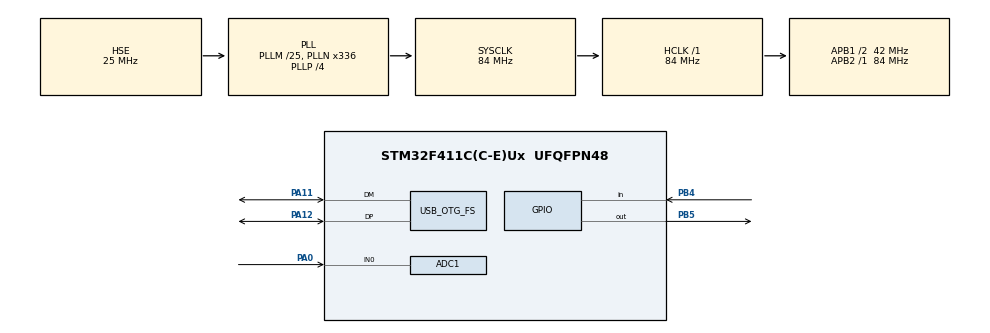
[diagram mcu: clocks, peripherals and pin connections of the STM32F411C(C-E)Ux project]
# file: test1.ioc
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ADC1.Channel-0\#ChannelRegularConversion=ADC_CHANNEL_0
ADC1.NbrOfConversionFlag=1
ADC1.Rank-0\#ChannelRegularConversion=1
ADC1.SamplingTime-0\#ChannelRegularConversion=ADC_SAMPLETIME_3CYCLES
ADC1.master=1
Mcu.Family=STM32F4
Mcu.Name=STM32F411C(C-E)Ux
Mcu.Package=UFQFPN48
NVIC.OTG_FS_IRQn=true\:0\:0\:false\:false\:true\:false\:true\:true
NVIC.PriorityGroup=NVIC_PRIORITYGROUP_4
PA0-WKUP.Signal=ADCx_IN0
PA11.Mode=Device_Only
PA11.Signal=USB_OTG_FS_DM
PA12.Mode=Device_Only
PA12.Signal=USB_OTG_FS_DP
PB4.Signal=GPIO_Input
PB5.Signal=GPIO_Output
PH0\ -\ OSC_IN.Mode=HSE-External-Oscillator
PH0\ -\ OSC_IN.Signal=RCC_OSC_IN
PH1\ -\ OSC_OUT.Mode=HSE-External-Oscillator
PH1\ -\ OSC_OUT.Signal=RCC_OSC_OUT
ProjectManager.HeapSize=0x200
ProjectManager.StackSize=0x400
ProjectManager.TargetToolchain=STM32CubeIDE
RCC.48MHZClocksFreq_Value=48000000
RCC.AHBFreq_Value=84000000
RCC.APB1CLKDivider=RCC_HCLK_DIV2
RCC.APB1Freq_Value=42000000
RCC.APB1TimFreq_Value=84000000
RCC.APB2Freq_Value=84000000
RCC.APB2TimFreq_Value=84000000
RCC.CortexFreq_Value=84000000
RCC.HCLKFreq_Value=84000000
RCC.HSE_VALUE=25000000
RCC.HSI_VALUE=16000000
RCC.LSE_VALUE=32768
RCC.PLLM=25
RCC.PLLN=336
RCC.PLLP=RCC_PLLP_DIV4
RCC.PLLQ=7
RCC.SYSCLKFreq_VALUE=84000000
RCC.SYSCLKSource=RCC_SYSCLKSOURCE_PLLCLK
RCC.VCOOutputFreq_Value=336000000
SH.ADCx_IN0.0=ADC1_IN0,IN0
USB_DEVICE.CLASS_NAME_FS=CDC
USB_DEVICE.VirtualMode=Cdc
USB_DEVICE.VirtualModeFS=Cdc_FS
USB_OTG_FS.VirtualMode=Device_Only
VP_USB_DEVICE_VS_USB_DEVICE_CDC_FS.Mode=CDC_FS
board=custom

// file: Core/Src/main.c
/* USER CODE BEGIN Header */
/* USER CODE END Header */
#include "main.h"
#include "usb_device.h"

/* USER CODE BEGIN Includes */
#include <stdio.h>
#include <string.h>
#include "usbd_cdc_if.h"
/* USER CODE END Includes */

/* USER CODE BEGIN PD */

// ---- Calibration -----------------------------------------------------------
// HX711_SCALE is in counts per gram:
//   grams   = (filtered_counts - offset) / HX711_SCALE
//   force_N = grams / 1000 * g
#define HX711_SCALE          9.009f      // counts / gram
#define GRAVITY_MS2          9.80665f    // m/s^2
#define GRAM_TO_NEWTON       (GRAVITY_MS2 / 1000.0f)

// ---- Filtering --------------------------------------------------------------
#define MEDIAN_N             5       // sliding median window (odd): kills spikes
#define EMA_ALPHA            0.15f   // 0..1, smaller = smoother but slower

// ---- Zeroing ----------------------------------------------------------------
#define TARE_SAMPLES         20      // samples averaged for a manual/startup tare
#define ZERO_DEADBAND_N      0.05f   // |force| below this prints as exactly 0
#define AUTO_ZERO_ENABLE     1       // 1 = slowly track zero drift
#define AUTO_ZERO_WINDOW_N   0.20f   // only track if reading is within +-this of zero
#define AUTO_ZERO_RATE       0.02f   // how fast the offset follows (per sample)

/* USER CODE END PD */

ADC_HandleTypeDef hadc1;

/* USER CODE BEGIN PV */
// Set by CDC_Receive_FS() in usbd_cdc_if.c (see instructions)
volatile uint8_t usb_rx_cmd = 0;

static int32_t median_buf[MEDIAN_N];
static int     median_count = 0;
static int     median_idx   = 0;

static float   offset_counts = 0.0f;
static float   ema_value     = 0.0f;
static int     ema_ready     = 0;
/* USER CODE END PV */

void SystemClock_Config(void);
static void MX_GPIO_Init(void);
static void MX_ADC1_Init(void);

/* USER CODE BEGIN 0 */
int _write(int file, char *ptr, int len) {
    // CDC_Transmit_FS returns USBD_BUSY if the previous packet isn't done yet
    uint32_t t0 = HAL_GetTick();
    while (CDC_Transmit_FS((uint8_t*)ptr, len) == USBD_BUSY) {
        if (HAL_GetTick() - t0 > 20) break;
    }
    return len;
}

// Returns 1 on success, 0 on timeout (HX711 not responding)
int HX711_Read(int32_t *out) {
    uint32_t t0 = HAL_GetTick();

    // Wait for the HX711 to be ready (DT goes low)
    while (HAL_GPIO_ReadPin(GPIOB, GPIO_PIN_4) == GPIO_PIN_SET) {
        if (HAL_GetTick() - t0 > 1000) return 0;
    }

    uint32_t count = 0;

    // SCK held high > 60 us puts the HX711 into power-down, so an interrupt
    // (e.g. USB) in the middle of the read would corrupt it. Block IRQs briefly.
    __disable_irq();

    for (int i = 0; i < 24; i++) {
        HAL_GPIO_WritePin(GPIOB, GPIO_PIN_5, GPIO_PIN_SET);   // SCK High
        for (volatile int d = 0; d < 10; d++) {}

        count <<= 1;

        HAL_GPIO_WritePin(GPIOB, GPIO_PIN_5, GPIO_PIN_RESET); // SCK Low
        for (volatile int d = 0; d < 10; d++) {}

        if (HAL_GPIO_ReadPin(GPIOB, GPIO_PIN_4) == GPIO_PIN_SET) {
            count++;
        }
    }

    // 25th pulse: next conversion = Channel A, gain 128
    HAL_GPIO_WritePin(GPIOB, GPIO_PIN_5, GPIO_PIN_SET);
    for (volatile int d = 0; d < 10; d++) {}
    HAL_GPIO_WritePin(GPIOB, GPIO_PIN_5, GPIO_PIN_RESET);

    __enable_irq();

    // 24-bit two's complement -> 32-bit signed
    if (count & 0x00800000UL) {
        count |= 0xFF000000UL;
    }

    *out = (int32_t)count;
    return 1;
}

// Median of the last MEDIAN_N samples (removes single-sample spikes)
static int32_t Median_Push(int32_t sample) {
    median_buf[median_idx] = sample;
    median_idx = (median_idx + 1) % MEDIAN_N;
    if (median_count < MEDIAN_N) median_count++;

    int32_t tmp[MEDIAN_N];
    memcpy(tmp, median_buf, sizeof(int32_t) * median_count);

    // insertion sort (tiny array)
    for (int i = 1; i < median_count; i++) {
        int32_t key = tmp[i];
        int j = i - 1;
        while (j >= 0 && tmp[j] > key) {
            tmp[j + 1] = tmp[j];
            j--;
        }
        tmp[j + 1] = key;
    }
    return tmp[median_count / 2];
}

// Median -> exponential moving average (low-pass)
static float Filter_Update(int32_t raw) {
    float med = (float)Median_Push(raw);
    if (!ema_ready) {
        ema_value = med;
        ema_ready = 1;
    } else {
        ema_value += EMA_ALPHA * (med - ema_value);
    }
    return ema_value;
}

static void Filter_Reset(void) {
    median_count = 0;
    median_idx   = 0;
    ema_ready    = 0;
}

// Average TARE_SAMPLES readings and use that as the new zero.
// Keep the load cell unloaded and still while this runs.
static void Tare(void) {
    int64_t sum = 0;
    int n = 0;
    for (int i = 0; i < TARE_SAMPLES; i++) {
        int32_t v;
        if (HX711_Read(&v)) {
            sum += v;
            n++;
        }
    }
    if (n > 0) {
        offset_counts = (float)((double)sum / (double)n);
    }
    Filter_Reset();
}

static float Force_Compute(float filtered_counts) {
    float grams = (filtered_counts - offset_counts) / HX711_SCALE;
    return grams * GRAM_TO_NEWTON;
}

static inline float absf_(float x) { return x < 0 ? -x : x; }
/* USER CODE END 0 */

int main(void)
{

  /* MCU Configuration--------------------------------------------------------*/

  /* Reset of all peripherals, Initializes the Flash interface and the Systick. */
  HAL_Init();

  /* Configure the system clock */
  SystemClock_Config();

  /* Initialize all configured peripherals */
  MX_GPIO_Init();
  MX_ADC1_Init();
  MX_USB_DEVICE_Init();

  /* USER CODE BEGIN 2 */
  // Make sure SCK starts low
  HAL_GPIO_WritePin(GPIOB, GPIO_PIN_5, GPIO_PIN_RESET);

  // Give the USB port 1 second to connect to the PC before spamming data
  HAL_Delay(1000);

  // Initial zero (load cell must be empty at power-up)
  Tare();
  printf("Ready. Send 't' (or 'z') to tare.\r\n");
  /* USER CODE END 2 */

  /* Infinite loop */
  /* USER CODE BEGIN WHILE */
  while (1)
  {
    // Manual tare from the PC keyboard
    if (usb_rx_cmd == 't' || usb_rx_cmd == 'T' ||
        usb_rx_cmd == 'z' || usb_rx_cmd == 'Z') {
        usb_rx_cmd = 0;
        Tare();
        printf("Tared.\r\n");
    } else {
        usb_rx_cmd = 0;
    }

    // One HX711 sample (blocks until ready: ~10 Hz with the default RATE pin)
    int32_t raw;
    if (!HX711_Read(&raw)) {
        printf("HX711 timeout\r\n");
        continue;
    }

    float filtered = Filter_Update(raw);
    float force_N  = Force_Compute(filtered);

#if AUTO_ZERO_ENABLE
    // Zero tracking: if the reading is very close to zero, assume it's drift
    // and let the offset slowly follow it.
    if (absf_(force_N) < AUTO_ZERO_WINDOW_N) {
        offset_counts += AUTO_ZERO_RATE * (filtered - offset_counts);
        force_N = Force_Compute(filtered);
    }
#endif

    // Deadband: print a clean zero when unloaded
    if (absf_(force_N) < ZERO_DEADBAND_N) {
        force_N = 0.0f;
    }

    // Print without float printf (needs a linker flag on STM32CubeIDE):
    // convert to millinewtons and format manually.
    int32_t mN = (int32_t)(force_N * 1000.0f + (force_N >= 0 ? 0.5f : -0.5f));
    long a = (mN < 0) ? -(long)mN : (long)mN;
    printf("Force: %s%ld.%03ld N\r\n", (mN < 0) ? "-" : "", a / 1000, a % 1000);

  /* USER CODE END WHILE */

  }
}

void SystemClock_Config(void)
{
  RCC_OscInitTypeDef RCC_OscInitStruct = {0};
  RCC_ClkInitTypeDef RCC_ClkInitStruct = {0};

  __HAL_RCC_PWR_CLK_ENABLE();
  __HAL_PWR_VOLTAGESCALING_CONFIG(PWR_REGULATOR_VOLTAGE_SCALE1);

  RCC_OscInitStruct.OscillatorType = RCC_OSCILLATORTYPE_HSE;
  RCC_OscInitStruct.HSEState = RCC_HSE_ON;
  RCC_OscInitStruct.PLL.PLLState = RCC_PLL_ON;
  RCC_OscInitStruct.PLL.PLLSource = RCC_PLLSOURCE_HSE;
  RCC_OscInitStruct.PLL.PLLM = 25;
  RCC_OscInitStruct.PLL.PLLN = 336;
  RCC_OscInitStruct.PLL.PLLP = RCC_PLLP_DIV4;
  RCC_OscInitStruct.PLL.PLLQ = 7;
  if (HAL_RCC_OscConfig(&RCC_OscInitStruct) != HAL_OK)
  {
    Error_Handler();
  }

  RCC_ClkInitStruct.ClockType = RCC_CLOCKTYPE_HCLK|RCC_CLOCKTYPE_SYSCLK
                              |RCC_CLOCKTYPE_PCLK1|RCC_CLOCKTYPE_PCLK2;
  RCC_ClkInitStruct.SYSCLKSource = RCC_SYSCLKSOURCE_PLLCLK;
  RCC_ClkInitStruct.AHBCLKDivider = RCC_SYSCLK_DIV1;
  RCC_ClkInitStruct.APB1CLKDivider = RCC_HCLK_DIV2;
  RCC_ClkInitStruct.APB2CLKDivider = RCC_HCLK_DIV1;

  if (HAL_RCC_ClockConfig(&RCC_ClkInitStruct, FLASH_LATENCY_2) != HAL_OK)
  {
    Error_Handler();
  }
}

static void MX_ADC1_Init(void)
{
  ADC_ChannelConfTypeDef sConfig = {0};

  hadc1.Instance = ADC1;
  hadc1.Init.ClockPrescaler = ADC_CLOCK_SYNC_PCLK_DIV4;
  hadc1.Init.Resolution = ADC_RESOLUTION_12B;
  hadc1.Init.ScanConvMode = DISABLE;
  hadc1.Init.ContinuousConvMode = DISABLE;
  hadc1.Init.DiscontinuousConvMode = DISABLE;
  hadc1.Init.ExternalTrigConvEdge = ADC_EXTERNALTRIGCONVEDGE_NONE;
  hadc1.Init.ExternalTrigConv = ADC_SOFTWARE_START;
  hadc1.Init.DataAlign = ADC_DATAALIGN_RIGHT;
  hadc1.Init.NbrOfConversion = 1;
  hadc1.Init.DMAContinuousRequests = DISABLE;
  hadc1.Init.EOCSelection = ADC_EOC_SINGLE_CONV;
  if (HAL_ADC_Init(&hadc1) != HAL_OK)
  {
    Error_Handler();
  }

  sConfig.Channel = ADC_CHANNEL_0;
  sConfig.Rank = 1;
  sConfig.SamplingTime = ADC_SAMPLETIME_3CYCLES;
  if (HAL_ADC_ConfigChannel(&hadc1, &sConfig) != HAL_OK)
  {
    Error_Handler();
  }
}

static void MX_GPIO_Init(void)
{
  GPIO_InitTypeDef GPIO_InitStruct = {0};

  /* GPIO Ports Clock Enable */
  __HAL_RCC_GPIOH_CLK_ENABLE();
  __HAL_RCC_GPIOA_CLK_ENABLE();
  __HAL_RCC_GPIOB_CLK_ENABLE();

  /*Configure GPIO pin Output Level */
  HAL_GPIO_WritePin(GPIOB, GPIO_PIN_5, GPIO_PIN_RESET);

  /*Configure GPIO pin : PB4 */
  GPIO_InitStruct.Pin = GPIO_PIN_4;
  GPIO_InitStruct.Mode = GPIO_MODE_INPUT;
  GPIO_InitStruct.Pull = GPIO_NOPULL;
  HAL_GPIO_Init(GPIOB, &GPIO_InitStruct);

  /*Configure GPIO pin : PB5 */
  GPIO_InitStruct.Pin = GPIO_PIN_5;
  GPIO_InitStruct.Mode = GPIO_MODE_OUTPUT_PP;
  GPIO_InitStruct.Pull = GPIO_NOPULL;
  GPIO_InitStruct.Speed = GPIO_SPEED_FREQ_LOW;
  HAL_GPIO_Init(GPIOB, &GPIO_InitStruct);
}

void Error_Handler(void)
{
  __disable_irq();
  while (1)
  {
  }
}
